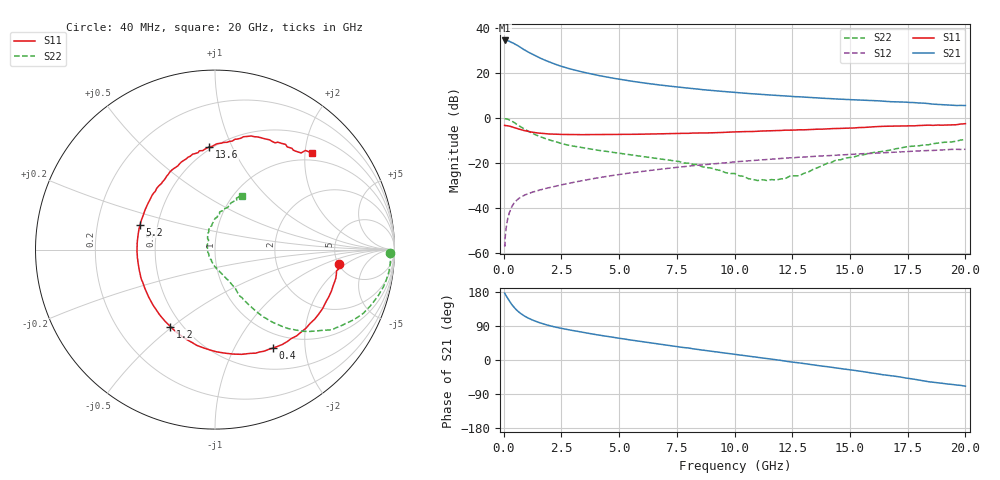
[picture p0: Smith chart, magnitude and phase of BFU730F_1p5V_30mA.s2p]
! Filename:  P:\Prog\Test\Noise\ATS_data\Testdata_Net\Split files Spar\BFU730_2W_B1_Bias10_1.5V_1mA_30mA_D.s2p
! Date/Time: Fri 29/Apr/2011 14:17:05
! BFU730_2W_B1_Bias10_1.5V_1mA_30mA_R.s2p
! MDIF S-parameter v. bias file
! BFU730_2W_B1_1.5V_1mA_30mA
! Date/time Thu Mar 17 13:45:32 2011
! VAR V_out= 1.5002
! VAR I_out= 30.0350
! VAR V_in= 0.8289
! VAR I_in= 0.1116
! Device data file deembeded for feedlines and parallel
! Original file: \Split files Spar\BFU730_2W_B1_Bias10_1.5V_1mA_30mA_R.s2p
! Feed-files: PR003V01_101208_Feed1.s2p, PR003V01_101208_Feed2.s2p
! Parallel-file: PR003V01_101208_Par.s2p
# MHz S MA R 50
!  Freq-MHz  S11-mag  S11-arg  S21-mag  S21-arg  S12-mag  S12-arg  S22-mag  S22-arg
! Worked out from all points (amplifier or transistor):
!   167 points, 40 MHz to 20 GHz, reference 50 ohm
!   highest |S21| = 34.7 dB at 50 MHz (marker M1)
!   |S21| within 3 dB of that: start of sweep to 710.7 MHz
!   unconditionally stable (mu >= 1): 3.495 GHz to 15.76 GHz
!   at 550 MHz: K = 0.28, MSG = 34.6 dB, |S12| = -36.6 dB
!   at 4.2 GHz: K = 1.04, MAG = 21.3 dB, |S12| = -26.3 dB
!   at 20 GHz: K = 0.88, MSG = 9.7 dB, |S12| = -13.8 dB
!   S11 on the Smith chart (normalised r, x): 40 MHz: 5.09, -1.61; 400 MHz: 0.78, -1.45; 1.2 GHz: 0.43, -0.49; 5.2 GHz: 0.40, +0.14; 13.6 GHz: 0.48, +0.82; 20 GHz: 0.84, +2.15
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40  0.6976 -6.7  54.06 176.7  0.001528 85.8  0.9754 -1.0
50  0.6963 -9.0  54.06 174.9  0.001435 83.4  0.9774 -2.4
60  0.6875 -10.0  52.7 174.1  0.00205 90.0  0.98 -3.3
80  0.6919 -13.2  53.85 172.3  0.002767 83.8  0.9789 -5.3
120  0.6885 -19.6  53.59 168.0  0.004059 81.9  0.9719 -9.0
240  0.6708 -37.8  52.02 156.1  0.00779 74.7  0.9281 -18.7
400  0.6366 -59.5  47.62 142.7  0.01197 66.4  0.8367 -29.4
480  0.6199 -68.6  45.23 137.0  0.01359 63.4  0.794 -34.0
600  0.5905 -80.3  41.79 129.5  0.01565 59.4  0.7197 -39.1
850  0.5434 -100.7  34.53 117.8  0.01895 54.4  0.5993 -47.2
1200  0.4956 -120.1  27.37 106.7  0.02241 51.2  0.4765 -53.5
1550  0.4689 -134.7  22.25 98.5  0.02538 50.4  0.3965 -56.9
2000  0.4482 -148.6  17.74 90.4  0.02895 50.1  0.3296 -60.1
2600  0.4384 -162.3  13.87 82.4  0.03406 50.5  0.2675 -62.3
3400  0.4341 -175.8  10.8 73.3  0.04111 50.1  0.2239 -63.8
5200  0.4396 161.5  7.142 55.5  0.05832 46.2  0.1622 -70.3
6800  0.4527 145.9  5.495 41.6  0.07396 40.5  0.1249 -78.4
10200  0.5044 118.4  3.724 13.3  0.1095 24.9  0.05285 -124.4
13400  0.5666 94.7  2.887 -12.8  0.1424 6.8  0.07309 124.2
13600  0.5739 93.2  2.855 -14.6  0.1438 5.7  0.0801 121.1
16800  0.6716 69.2  2.346 -41.6  0.1749 -13.4  0.1994 82.8
20000  0.7617 44.9  1.934 -69.2  0.2052 -34.7  0.3353 63.3
